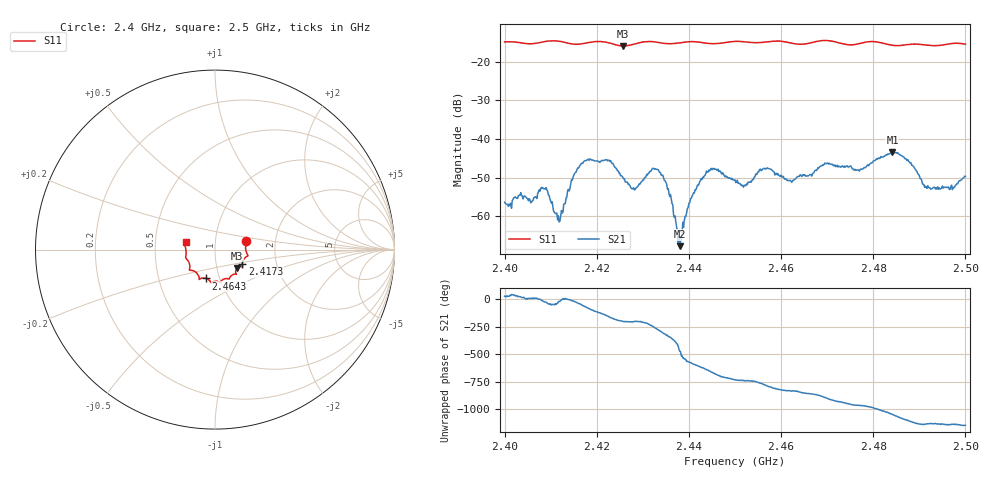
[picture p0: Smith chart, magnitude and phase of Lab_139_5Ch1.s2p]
# Hz S RI R 50
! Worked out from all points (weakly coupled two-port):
!   601 points, 2.4 GHz to 2.5 GHz, reference 50 ohm
!   highest |S21| = -43.45 dB at 2.4842 GHz (marker M1); lowest = -67.7 dB at 2.438 GHz (marker M2)
!   lowest |S11| = -15.9 dB at 2.4257 GHz (marker M3), VSWR 1.38, Z = 62.5 - j13.1 ohm
!   |S11| at or under -10 dB: start of sweep to end of sweep
!   S12 and S22 are empty: the file has one direction only
!   S11 on the Smith chart (normalised r, x): 2.4 GHz: 1.41, +0.14; 2.4173 GHz: 1.34, -0.23; 2.4643 GHz: 0.86, -0.29; 2.5 GHz: 0.72, +0.06
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2.4e9  0.1735 0.0495  0.00134 0.000731  0 0  0 0
2.4085e9  0.18 -0.0252  0.00214 -0.000773  0 0  0 0
2.412e9  0.18 -0.0367  0.00082 -0.000262  0 0  0 0
2.416667e9  0.1531 -0.0744  0.00316 -0.00368  0 0  0 0
2.417333e9  0.1523 -0.0818  0.00229 -0.00467  0 0  0 0
2.4225e9  0.1492 -0.0943  -0.00479 -0.00226  0 0  0 0
2.425667e9  0.1228 -0.1023  -0.00301 0.00108  0 0  0 0
2.428e9  0.1148 -0.1235  -0.00216 0.000916  0 0  0 0
2.433333e9  0.113 -0.1368  0.000511 0.00398  0 0  0 0
2.435667e9  0.0971 -0.141  0.00188 0.000673  0 0  0 0
2.438e9  0.0829 -0.1544  -0.000153 -0.000381  0 0  0 0
2.4405e9  0.0788 -0.1643  -0.00133 0.00107  0 0  0 0
2.443833e9  0.0647 -0.161  0.000672 0.00381  0 0  0 0
2.45e9  0.0292 -0.181  0.00289 -0.000662  0 0  0 0
2.452167e9  0.022 -0.1792  0.00233 -0.000944  0 0  0 0
2.456667e9  -0.0113 -0.1797  0.002 -0.00365  0 0  0 0
2.464333e9  -0.0497 -0.1608  -0.00198 -0.00273  0 0  0 0
2.466667e9  -0.0758 -0.1598  -0.0026 -0.00207  0 0  0 0
2.483333e9  -0.1404 -0.09  0.0045 0.00452  0 0  0 0
2.484167e9  -0.1418 -0.0809  0.00565 0.00365  0 0  0 0
2.492167e9  -0.161 -0.0235  0.00139 -0.00186  0 0  0 0
2.5e9  -0.1634 0.0421  0.00134 -0.003  0 0  0 0
